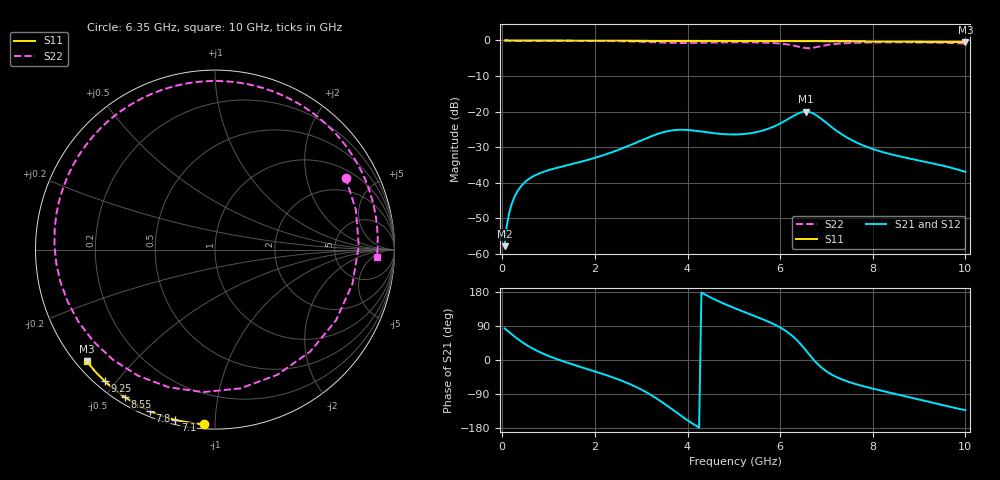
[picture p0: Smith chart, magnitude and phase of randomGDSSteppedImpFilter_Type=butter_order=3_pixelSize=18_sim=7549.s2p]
! freq	dB(S11)	phase(S11)	dB(S12)	phase(S12)
!  dB(S21)	phase(S21)	dB(S22)	phase(S22)
!S-par simulation data
#  GHz  S  DB  R 50
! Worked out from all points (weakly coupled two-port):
!   200 points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, 50 MHz to 10 GHz, reference 50 ohm
!   highest |S21| = -20.02 dB at 6.55 GHz (marker M1); lowest = -57.9 dB at 50 MHz (marker M2)
!   lowest |S11| = -0.5 dB at 10 GHz (marker M3), VSWR 36.93, Z = 1.54 - j18.7 ohm
!   |S11| at or under -10 dB: nowhere
!   |S22| runs from -2.2 to 0.0 dB; largest |S21 - S12| = 0
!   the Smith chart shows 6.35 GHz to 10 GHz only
!   S11 on the Smith chart (normalised r, x): 6.35 GHz: 0.02, -0.94; 7.1 GHz: 0.02, -0.79; 7.8 GHz: 0.02, -0.67; 8.55 GHz: 0.02, -0.56; 9.25 GHz: 0.03, -0.47; 10 GHz: 0.03, -0.37
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0.05  -0.00 -0.8  -57.90 83.4  -57.90 83.4  -0.01 -10.3
0.2  -0.00 -3.2  -46.18 68.3  -46.18 68.3  -0.06 -40.1
0.55  -0.01 -8.8  -39.23 37.5  -39.23 37.5  -0.11 -96.2
1.05  -0.02 -16.8  -36.32 8.2  -36.32 8.2  -0.11 -147.3
1.75  -0.04 -27.8  -33.96 -20.6  -33.96 -20.6  -0.13 165.1
2.8  -0.06 -43.9  -29.25 -66.1  -29.25 -66.1  -0.28 90.2
3.4  -0.08 -52.8  -26.12 -107.1  -26.12 -107.1  -0.56 18.6
3.7  -0.09 -57.2  -25.26 -133.1  -25.26 -133.1  -0.69 -28.4
4.1  -0.10 -63.0  -25.31 -167.1  -25.31 -167.1  -0.69 -89.2
4.55  -0.11 -69.3  -26.08 161.9  -26.08 161.9  -0.58 -141.7
5.05  -0.13 -76.3  -26.45 135.1  -26.45 135.1  -0.52 175.3
5.9  -0.17 -87.8  -24.02 92.3  -24.02 92.3  -0.76 103.7
6.15  -0.19 -91.1  -22.29 74.3  -22.29 74.3  -1.09 69.9
6.35  -0.21 -93.7  -20.81 53.8  -20.81 53.8  -1.61 28.9
6.55  -0.23 -96.2  -20.02 26.2  -20.02 26.2  -2.15 -30.3
6.7  -0.23 -98.1  -20.46 4.0  -20.46 4.0  -2.09 -79.6
7.1  -0.23 -103.2  -24.27 -37.6  -24.27 -37.6  -1.11 -168.2
7.8  -0.27 -112.0  -29.58 -69.3  -29.58 -69.3  -0.61 127.2
8.35  -0.31 -118.9  -31.90 -85.7  -31.90 -85.7  -0.54 95.1
8.55  -0.32 -121.3  -32.53 -91.5  -32.53 -91.5  -0.54 84.3
9.25  -0.39 -129.9  -34.47 -111.7  -34.47 -111.7  -0.60 45.8
10  -0.47 -139.0  -37.00 -132.4  -37.00 -132.4  -0.89 -2.8
